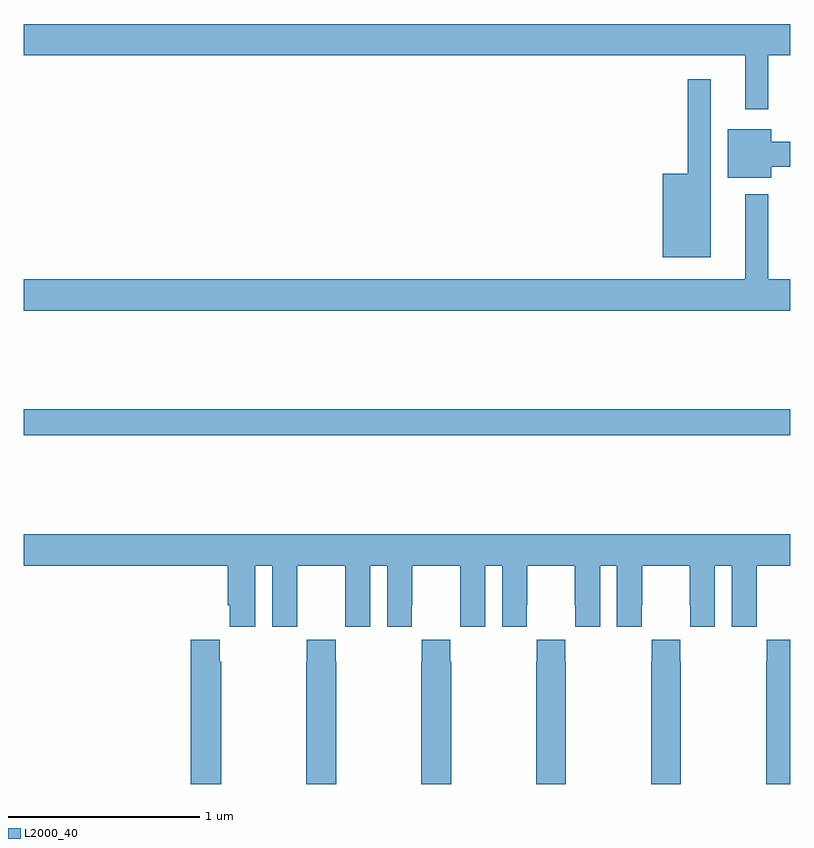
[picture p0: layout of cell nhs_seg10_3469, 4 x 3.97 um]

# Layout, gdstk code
import gdstk
lib = gdstk.Library(unit=1e-6, precision=1e-09)
def R(c, l, rs):  # rectangles x0, y0, x1, y1
    for r in rs: c.add(gdstk.rectangle(r[:2], r[2:], *l))
def P(c, l, *ps):  # polygons
    for p in ps: c.add(gdstk.Polygon(p, *l))
L2000_40 = (2000, 40)

nhs_seg10_3469 = lib.new_cell('nhs_seg10_3469')
R(nhs_seg10_3469, L2000_40, [(299,1310.32,303,1310.456)])
P(nhs_seg10_3469, L2000_40, [(302.887,1312.304),(303,1312.304),(303,1312.468),(299,1312.468),(299,1312.304),(302.765,1312.304),(302.765,1312.023),(302.887,1312.023)],
  [(302.587,1312.18),(302.466,1312.18),(302.466,1311.685),(302.336,1311.685),(302.336,1311.251),(302.587,1311.251)],
  [(302.902,1311.724),(303,1311.724),(303,1311.853),(302.902,1311.853),(302.902,1311.919),(302.675,1311.919),(302.675,1311.665),(302.902,1311.665)],
  [(303,1311.136),(302.887,1311.136),(302.887,1311.58),(302.765,1311.58),(302.765,1311.136),(299,1311.136),(299,1310.972),(303,1310.972)],
  [(299,1309.64),(300.065,1309.64),(300.065,1309.432),(300.074,1309.432),(300.074,1309.32),(300.208,1309.32),(300.208,1309.64),(300.296,1309.64),(300.296,1309.32),(300.426,1309.32),(300.426,1309.432),(300.427,1309.432),(300.427,1309.64),(300.677,1309.64),(300.677,1309.432),(300.678,1309.432),(300.678,1309.32),(300.808,1309.32),(300.808,1309.64),(300.896,1309.64),(300.896,1309.32),(301.026,1309.32),(301.026,1309.432),(301.027,1309.432),(301.027,1309.64),(301.277,1309.64),(301.277,1309.432),(301.278,1309.432),(301.278,1309.32),(301.408,1309.32),(301.408,1309.64),(301.496,1309.64),(301.496,1309.32),(301.626,1309.32),(301.626,1309.432),(301.627,1309.432),(301.627,1309.64),(301.877,1309.64),(301.877,1309.432),(301.878,1309.432),(301.878,1309.32),(302.008,1309.32),(302.008,1309.64),(302.096,1309.64),(302.096,1309.32),(302.226,1309.32),(302.226,1309.432),(302.227,1309.432),(302.227,1309.64),(302.477,1309.64),(302.477,1309.432),(302.478,1309.432),(302.478,1309.32),(302.608,1309.32),(302.608,1309.64),(302.696,1309.64),(302.696,1309.32),(302.826,1309.32),(302.826,1309.432),(302.827,1309.432),(302.827,1309.64),(303,1309.64),(303,1309.804),(299,1309.804)],
  [(300.03,1309.139),(300.023,1309.139),(300.023,1309.252),(299.87,1309.252),(299.87,1308.5),(300.03,1308.5)],
  [(300.63,1309.139),(300.627,1309.139),(300.627,1309.252),(300.477,1309.252),(300.477,1309.139),(300.475,1309.139),(300.475,1308.5),(300.63,1308.5)],
  [(301.23,1309.139),(301.227,1309.139),(301.227,1309.252),(301.077,1309.252),(301.077,1309.139),(301.075,1309.139),(301.075,1308.5),(301.23,1308.5)],
  [(301.83,1309.139),(301.827,1309.139),(301.827,1309.252),(301.677,1309.252),(301.677,1309.139),(301.675,1309.139),(301.675,1308.5),(301.83,1308.5)],
  [(302.43,1309.139),(302.427,1309.139),(302.427,1309.252),(302.277,1309.252),(302.277,1309.139),(302.275,1309.139),(302.275,1308.5),(302.43,1308.5)],
  [(303,1309.252),(302.877,1309.252),(302.877,1309.139),(302.875,1309.139),(302.875,1308.5),(303,1308.5)])

lib.write_gds('nhs_seg10_3469.gds')
